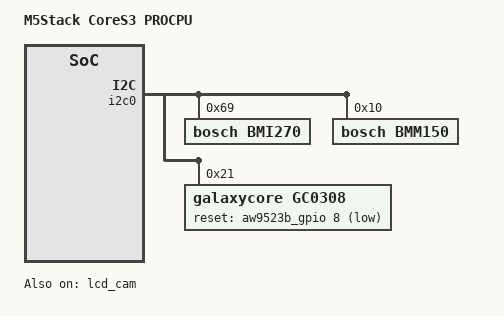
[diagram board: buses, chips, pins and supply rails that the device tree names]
/*
 * Copyright (c) 2024 TOKITA Hiroshi
 *
 * SPDX-License-Identifier: Apache-2.0
 */

/dts-v1/;

#include "m5stack_cores3_procpu_common.dtsi"

/ {
	model = "M5Stack CoreS3 PROCPU";
	compatible = "m5stack,cores3";

	aliases {
		accel0 = &bmi270;
		magn0 = &bmm150;
	};

	chosen {
		zephyr,camera = &lcd_cam;
	};
};

&i2c0 {
	bmi270: bmi270@69 {
		compatible = "bosch,bmi270";
		reg = <0x69>;
	};

	bmm150: bmm150@10 {
		compatible = "bosch,bmm150";
		status = "okay";
		reg = <0x10>;
	};

	gc0308: gc0308@21 {
		compatible = "galaxycore,gc0308";
		reg = <0x21>;
		status = "okay";
		reset-gpios = <&aw9523b_gpio 8 GPIO_ACTIVE_LOW>;

		port {
			gc0308_ep_out: endpoint {
				remote-endpoint-label = "dvp_ep_in";
			};
		};
	};
};

&dma {
	status = "okay";
};

&i2c1 {
	/* GPIO2 is used for CAM_CLK (XCLK). */
	status = "disabled";
};

&lcd_cam {
	status = "okay";
	cam-clk = <20000000>;
	data-width = <8>;
	pinctrl-0 = <&lcd_cam_default>;
	pinctrl-names = "default";
	source = <&gc0308>;
	dmas = <&dma 2>;
	dma-names = "rx";

	port {
		dvp_ep_in: endpoint {
			remote-endpoint-label = "gc0308_ep_out";
		};
	};
};

&regulator {
	vddcam_3v3: ALDO3 {
		regulator-min-microvolt = <3000000>;
		/* regulator-init-microvolt = <3300000>; */
		regulator-max-microvolt = <3500000>;
		regulator-boot-on;
		status = "okay";
	};

	avdd: BLDO1 {
		regulator-min-microvolt = <2700000>;
		/* regulator-init-microvolt = <2800000>; */
		regulator-max-microvolt = <3300000>;
		regulator-boot-on;
		status = "okay";
	};
};

&dvdd {
	regulator-boot-on;
};
